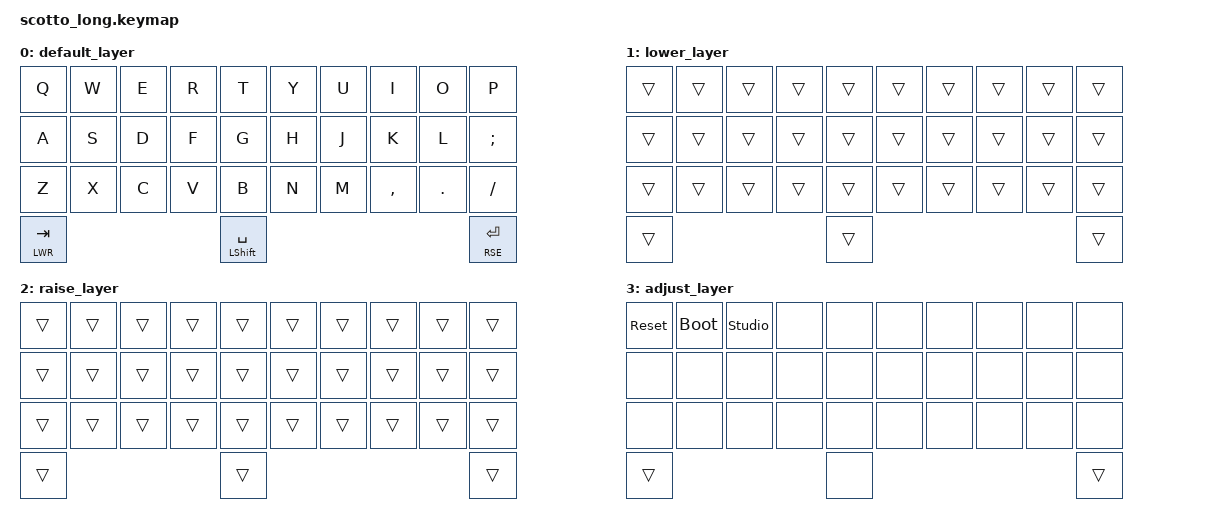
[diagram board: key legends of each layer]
#include <behaviors.dtsi>
#include <dt-bindings/zmk/keys.h>

#define DEF 0
#define LWR 1
#define RSE 2
#define ADJ 3

&lt { quick-tap-ms = <200>; };
&mt { quick-tap-ms = <200>; };

/ {
    conditional_layers {
        compatible = "zmk,conditional-layers";
        tri_layer {
            if-layers = <LWR RSE>;
            then-layer = <ADJ>;
        };
    };

    keymap {
        compatible = "zmk,keymap";

        default_layer {
            bindings = <
                &kp Q &kp W &kp E &kp R &kp T &kp Y &kp U &kp I     &kp O   &kp P
                &kp A &kp S &kp D &kp F &kp G &kp H &kp J &kp K     &kp L   &kp SEMI
                &kp Z &kp X &kp C &kp V &kp B &kp N &kp M &kp COMMA &kp DOT &kp FSLH
                &lt LWR TAB             &mt LSHFT SPACE                     &lt RSE RET
            >;
        };

        lower_layer {
            bindings = <
                &trans &trans &trans &trans &trans &trans &trans &trans &trans &trans
                &trans &trans &trans &trans &trans &trans &trans &trans &trans &trans
                &trans &trans &trans &trans &trans &trans &trans &trans &trans &trans
                &trans                      &trans                             &trans
            >;
        };

        raise_layer {
            bindings = <
                &trans &trans &trans &trans &trans &trans &trans &trans &trans &trans
                &trans &trans &trans &trans &trans &trans &trans &trans &trans &trans
                &trans &trans &trans &trans &trans &trans &trans &trans &trans &trans
                &trans                      &trans                             &trans
            >;
        };

        adjust_layer {
            bindings = <
                &sys_reset &bootloader &studio_unlock &none &none &none &none &none &none &none
                &none      &none       &none          &none &none &none &none &none &none &none
                &none      &none       &none          &none &none &none &none &none &none &none
                &trans                                      &none                         &trans
            >;
        };
    };
};
